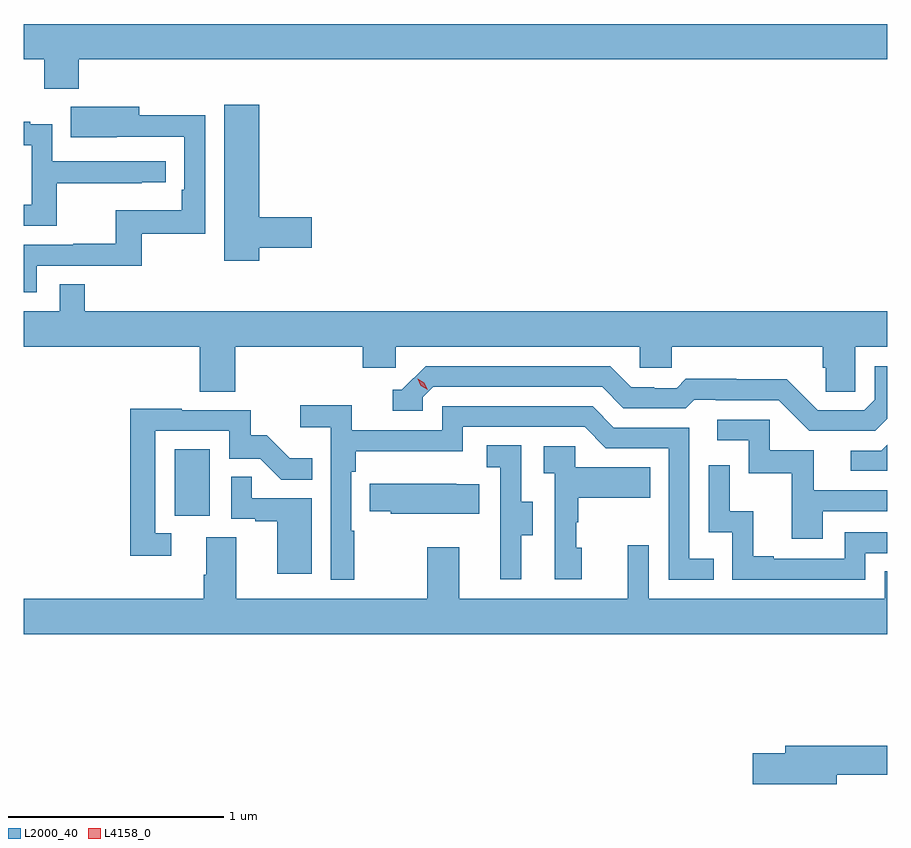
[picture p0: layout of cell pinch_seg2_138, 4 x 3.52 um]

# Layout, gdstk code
import gdstk
lib = gdstk.Library(unit=1e-6, precision=1e-09)
def R(c, l, rs):  # rectangles x0, y0, x1, y1
    for r in rs: c.add(gdstk.rectangle(r[:2], r[2:], *l))
def P(c, l, *ps):  # polygons
    for p in ps: c.add(gdstk.Polygon(p, *l))
L2000_40 = (2000, 40)
L4158_0 = (4158, 0)

pinch_seg2_138 = lib.new_cell('pinch_seg2_138')
R(pinch_seg2_138, L2000_40, [(1090.394,644.19,1090.558,644.497)])
P(pinch_seg2_138, L2000_40, [(1089.95,646.304),(1093.696,646.304),(1093.696,646.468),(1089.696,646.468),(1089.696,646.304),(1089.79,646.304),(1089.79,646.169),(1089.95,646.169)],
  [(1090.786,645.43),(1091.029,645.43),(1091.029,645.572),(1090.786,645.572),(1090.786,646.093),(1090.625,646.093),(1090.625,645.372),(1090.786,645.372)],
  [(1089.756,645.348),(1090.243,645.348),(1090.243,645.495),(1090.536,645.495),(1090.536,646.046),(1090.231,646.046),(1090.231,646.084),(1089.913,646.084),(1089.913,645.944),(1090.127,645.944),(1090.127,645.945),(1090.44,645.945),(1090.44,645.7),(1090.427,645.7),(1090.427,645.604),(1090.122,645.604),(1090.122,645.449),(1089.925,645.449),(1089.925,645.444),(1089.696,645.444),(1089.696,645.225),(1089.756,645.225)],
  [(1089.848,645.73),(1090.241,645.73),(1090.241,645.735),(1090.354,645.735),(1090.354,645.831),(1089.828,645.831),(1089.828,646.003),(1089.725,646.003),(1089.725,646.015),(1089.696,646.015),(1089.696,645.906),(1089.732,645.906),(1089.732,645.63),(1089.696,645.63),(1089.696,645.534),(1089.848,645.534)],
  [(1090.676,644.972),(1091.267,644.972),(1091.267,644.874),(1091.418,644.874),(1091.418,644.972),(1092.549,644.972),(1092.549,644.874),(1092.699,644.874),(1092.699,644.972),(1093.397,644.972),(1093.397,644.874),(1093.411,644.874),(1093.411,644.764),(1093.548,644.764),(1093.548,644.972),(1093.696,644.972),(1093.696,645.136),(1089.977,645.136),(1089.977,645.263),(1089.861,645.263),(1089.861,645.136),(1089.696,645.136),(1089.696,644.972),(1090.511,644.972),(1090.511,644.764),(1090.676,644.764)],
  [(1093.696,644.638),(1093.696,644.883),(1093.638,644.883),(1093.638,644.727),(1093.59,644.679),(1093.374,644.679),(1093.232,644.821),(1092.996,644.821),(1092.996,644.824),(1092.763,644.824),(1092.721,644.781),(1092.618,644.781),(1092.618,644.784),(1092.511,644.784),(1092.412,644.883),(1091.559,644.883),(1091.448,644.772),(1091.405,644.772),(1091.405,644.676),(1091.544,644.676),(1091.544,644.739),(1091.592,644.787),(1092.375,644.787),(1092.474,644.688),(1092.763,644.688),(1092.802,644.727),(1092.901,644.727),(1092.901,644.724),(1093.194,644.724),(1093.335,644.583),(1093.641,644.583)],
  [(1091.227,644.12),(1091.214,644.12),(1091.214,644.393),(1091.234,644.393),(1091.234,644.489),(1091.73,644.489),(1091.73,644.601),(1092.294,644.601),(1092.393,644.502),(1092.684,644.502),(1092.684,643.893),(1092.893,643.893),(1092.893,643.989),(1092.78,643.989),(1092.78,644.598),(1092.43,644.598),(1092.331,644.697),(1091.634,644.697),(1091.634,644.586),(1091.216,644.586),(1091.216,644.702),(1090.977,644.702),(1090.977,644.6),(1091.118,644.6),(1091.118,643.893),(1091.227,643.893)],
  [(1090.378,644.109),(1090.305,644.109),(1090.305,644.583),(1090.647,644.583),(1090.647,644.454),(1090.791,644.454),(1090.889,644.356),(1091.033,644.356),(1091.033,644.455),(1090.929,644.455),(1090.822,644.562),(1090.746,644.562),(1090.746,644.679),(1090.427,644.679),(1090.427,644.684),(1090.189,644.684),(1090.189,644.004),(1090.378,644.004)],
  [(1093.399,644.211),(1093.696,644.211),(1093.696,644.307),(1093.357,644.307),(1093.357,644.493),(1093.152,644.493),(1093.152,644.634),(1092.909,644.634),(1092.909,644.538),(1093.056,644.538),(1093.056,644.385),(1093.255,644.385),(1093.255,644.082),(1093.399,644.082)],
  [(1093.696,644.518),(1093.668,644.49),(1093.527,644.49),(1093.527,644.397),(1093.696,644.397)],
  [(1092.001,644.098),(1092.055,644.098),(1092.055,644.253),(1092,644.253),(1092,644.516),(1091.841,644.516),(1091.841,644.413),(1091.904,644.413),(1091.904,644.109),(1091.903,644.109),(1091.903,643.896),(1092.001,643.896)],
  [(1092.28,644.04),(1092.255,644.04),(1092.255,644.159),(1092.265,644.159),(1092.265,644.273),(1092.599,644.273),(1092.599,644.413),(1092.252,644.413),(1092.252,644.511),(1092.105,644.511),(1092.105,644.387),(1092.156,644.387),(1092.156,643.896),(1092.28,643.896)],
  [(1093.596,644.016),(1093.696,644.016),(1093.696,644.112),(1093.5,644.112),(1093.5,643.989),(1093.171,643.989),(1093.171,644.002),(1093.076,644.002),(1093.076,644.21),(1092.966,644.21),(1092.966,644.422),(1092.87,644.422),(1092.87,644.112),(1092.978,644.112),(1092.978,643.893),(1093.596,643.893)],
  [(1091.029,644.271),(1090.751,644.271),(1090.751,644.369),(1090.656,644.369),(1090.656,644.175),(1090.767,644.175),(1090.767,644.163),(1090.871,644.163),(1090.871,643.92),(1091.029,643.92)],
  [(1091.807,644.335),(1091.699,644.335),(1091.699,644.338),(1091.299,644.338),(1091.299,644.209),(1091.397,644.209),(1091.397,644.198),(1091.807,644.198)],
  [(1093.696,643.931),(1093.686,643.931),(1093.686,643.804),(1092.591,643.804),(1092.591,644.053),(1092.494,644.053),(1092.494,643.804),(1091.713,643.804),(1091.713,644.044),(1091.566,644.044),(1091.566,643.804),(1090.681,643.804),(1090.681,644.09),(1090.541,644.09),(1090.541,643.916),(1090.529,643.916),(1090.529,643.804),(1089.696,643.804),(1089.696,643.64),(1093.696,643.64)],
  [(1093.462,642.988),(1093.696,642.988),(1093.696,643.124),(1093.223,643.124),(1093.223,643.088),(1093.074,643.088),(1093.074,642.946),(1093.462,642.946)])
P(pinch_seg2_138, L4158_0, [(1091.567,644.772),(1091.536,644.792),(1091.52,644.824),(1091.52,644.825),(1091.52,644.825),(1091.551,644.805),(1091.567,644.772),(1091.567,644.772)])

lib.write_gds('pinch_seg2_138.gds')
